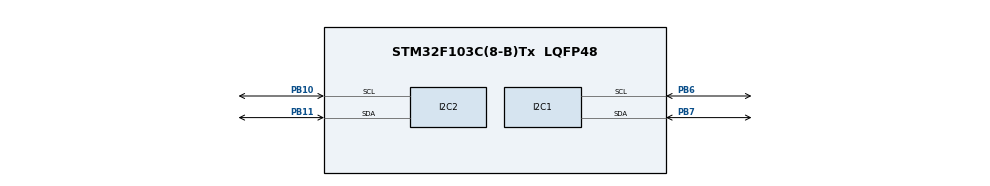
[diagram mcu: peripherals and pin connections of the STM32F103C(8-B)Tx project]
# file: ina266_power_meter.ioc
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I2C1.I2C_Mode=I2C_Fast
Mcu.Family=STM32F1
Mcu.Name=STM32F103C(8-B)Tx
Mcu.Package=LQFP48
NVIC.PriorityGroup=NVIC_PRIORITYGROUP_4
PA13.Mode=Serial_Wire
PA13.Signal=SYS_JTMS-SWDIO
PA14.Mode=Serial_Wire
PA14.Signal=SYS_JTCK-SWCLK
PB10.Mode=I2C
PB10.Signal=I2C2_SCL
PB11.Mode=I2C
PB11.Signal=I2C2_SDA
PB6.Mode=I2C
PB6.Signal=I2C1_SCL
PB7.Mode=I2C
PB7.Signal=I2C1_SDA
ProjectManager.HeapSize=0x200
ProjectManager.StackSize=0x400
ProjectManager.TargetToolchain=STM32CubeIDE
RCC.APB1Freq_Value=8000000
RCC.APB2Freq_Value=8000000
board=custom

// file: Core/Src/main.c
/* USER CODE BEGIN Header */
/**
  ******************************************************************************
  * @file           : main.c
  * @brief          : Main program body
  ******************************************************************************
  * @attention
  *
  * <h2><center>&copy; Copyright (c) 2020 STMicroelectronics.
  * All rights reserved.</center></h2>
  *
  * This software component is licensed by ST under BSD 3-Clause license,
  * the "License"; You may not use this file except in compliance with the
  * License. You may obtain a copy of the License at:
  *                        opensource.org/licenses/BSD-3-Clause
  *
  ******************************************************************************
  */
/* USER CODE END Header */

#include "main.h"

/* USER CODE BEGIN Includes */
#include "ssd1306.h"
#include "INA226.h"
/* USER CODE END Includes */

I2C_HandleTypeDef hi2c1;
I2C_HandleTypeDef hi2c2;

/* USER CODE BEGIN PV */
#define INA226_ADDR  0x40
#define INA226_SHUNT 0.01
#define SSD1306_ADDR 0x78
/* USER CODE END PV */

void SystemClock_Config(void);
static void MX_GPIO_Init(void);
static void MX_I2C1_Init(void);
static void MX_I2C2_Init(void);

int main(void)
{

  /* MCU Configuration--------------------------------------------------------*/

  /* Reset of all peripherals, Initializes the Flash interface and the Systick. */
  HAL_Init();

  /* Configure the system clock */
  SystemClock_Config();

  /* Initialize all configured peripherals */
  MX_GPIO_Init();
  MX_I2C1_Init();
  MX_I2C2_Init();
  /* USER CODE BEGIN 2 */
  AutoFox_INA226_Init(hi2c2, INA226_ADDR, INA226_SHUNT, 1);
  AutoFox_INA226_ConfigureNumSampleAveraging(3);

  /*for (volatile char t = 0; t <= 127; t++) {
      if (HAL_I2C_Master_Receive(&hi2c1, t, 0,0,100) == HAL_OK)
	while(1)
	  asm("nop");
  }*/

  ssd1306_Init(hi2c1, SSD1306_ADDR);
  HAL_Delay(1000);
  ssd1306_Fill(Black);
  ssd1306_UpdateScreen();
  /* USER CODE END 2 */

  /* Infinite loop */
  /* USER CODE BEGIN WHILE */
  while (1)
  {
    static uint32_t prevTick = 0;
    uint32_t currTick = HAL_GetTick();

    if (currTick - prevTick >= 100) {
	prevTick = currTick;

      int32_t voltage_uV = AutoFox_INA226_GetBusVoltage_uV();
      int32_t current_uA = AutoFox_INA226_GetCurrent_uA();

      static char strBuff[64];

      ssd1306_Fill(Black);
      ssd1306_SetCursor(5, 30);
      sprintf(strBuff, "U(V): %.3f", (float) voltage_uV / 1000000); //10E6);
      ssd1306_WriteString(strBuff, Font_7x9, White);
      ssd1306_SetCursor(5, 40);
      sprintf(strBuff, "I(A): %.6f", (float) current_uA / 1000000); //10E6);
      ssd1306_WriteString(strBuff, Font_7x9, White);
      ssd1306_UpdateScreen();
    }

    /* USER CODE END WHILE */
  }
}

void SystemClock_Config(void)
{
  RCC_OscInitTypeDef RCC_OscInitStruct = {0};
  RCC_ClkInitTypeDef RCC_ClkInitStruct = {0};

  /** Initializes the CPU, AHB and APB busses clocks
  */
  RCC_OscInitStruct.OscillatorType = RCC_OSCILLATORTYPE_HSI;
  RCC_OscInitStruct.HSIState = RCC_HSI_ON;
  RCC_OscInitStruct.HSICalibrationValue = RCC_HSICALIBRATION_DEFAULT;
  RCC_OscInitStruct.PLL.PLLState = RCC_PLL_NONE;
  if (HAL_RCC_OscConfig(&RCC_OscInitStruct) != HAL_OK)
  {
    Error_Handler();
  }
  /** Initializes the CPU, AHB and APB busses clocks
  */
  RCC_ClkInitStruct.ClockType = RCC_CLOCKTYPE_HCLK|RCC_CLOCKTYPE_SYSCLK
                              |RCC_CLOCKTYPE_PCLK1|RCC_CLOCKTYPE_PCLK2;
  RCC_ClkInitStruct.SYSCLKSource = RCC_SYSCLKSOURCE_HSI;
  RCC_ClkInitStruct.AHBCLKDivider = RCC_SYSCLK_DIV1;
  RCC_ClkInitStruct.APB1CLKDivider = RCC_HCLK_DIV1;
  RCC_ClkInitStruct.APB2CLKDivider = RCC_HCLK_DIV1;

  if (HAL_RCC_ClockConfig(&RCC_ClkInitStruct, FLASH_LATENCY_0) != HAL_OK)
  {
    Error_Handler();
  }
}

static void MX_I2C1_Init(void)
{

  hi2c1.Instance = I2C1;
  hi2c1.Init.ClockSpeed = 400000;
  hi2c1.Init.DutyCycle = I2C_DUTYCYCLE_2;
  hi2c1.Init.OwnAddress1 = 0;
  hi2c1.Init.AddressingMode = I2C_ADDRESSINGMODE_7BIT;
  hi2c1.Init.DualAddressMode = I2C_DUALADDRESS_DISABLE;
  hi2c1.Init.OwnAddress2 = 0;
  hi2c1.Init.GeneralCallMode = I2C_GENERALCALL_DISABLE;
  hi2c1.Init.NoStretchMode = I2C_NOSTRETCH_DISABLE;
  if (HAL_I2C_Init(&hi2c1) != HAL_OK)
  {
    Error_Handler();
  }

}

static void MX_I2C2_Init(void)
{

  hi2c2.Instance = I2C2;
  hi2c2.Init.ClockSpeed = 100000;
  hi2c2.Init.DutyCycle = I2C_DUTYCYCLE_2;
  hi2c2.Init.OwnAddress1 = 0;
  hi2c2.Init.AddressingMode = I2C_ADDRESSINGMODE_7BIT;
  hi2c2.Init.DualAddressMode = I2C_DUALADDRESS_DISABLE;
  hi2c2.Init.OwnAddress2 = 0;
  hi2c2.Init.GeneralCallMode = I2C_GENERALCALL_DISABLE;
  hi2c2.Init.NoStretchMode = I2C_NOSTRETCH_DISABLE;
  if (HAL_I2C_Init(&hi2c2) != HAL_OK)
  {
    Error_Handler();
  }

}

static void MX_GPIO_Init(void)
{

  /* GPIO Ports Clock Enable */
  __HAL_RCC_GPIOB_CLK_ENABLE();
  __HAL_RCC_GPIOA_CLK_ENABLE();

}

void Error_Handler(void)
{
}

/************************ (C) COPYRIGHT STMicroelectronics *****END OF FILE****/
